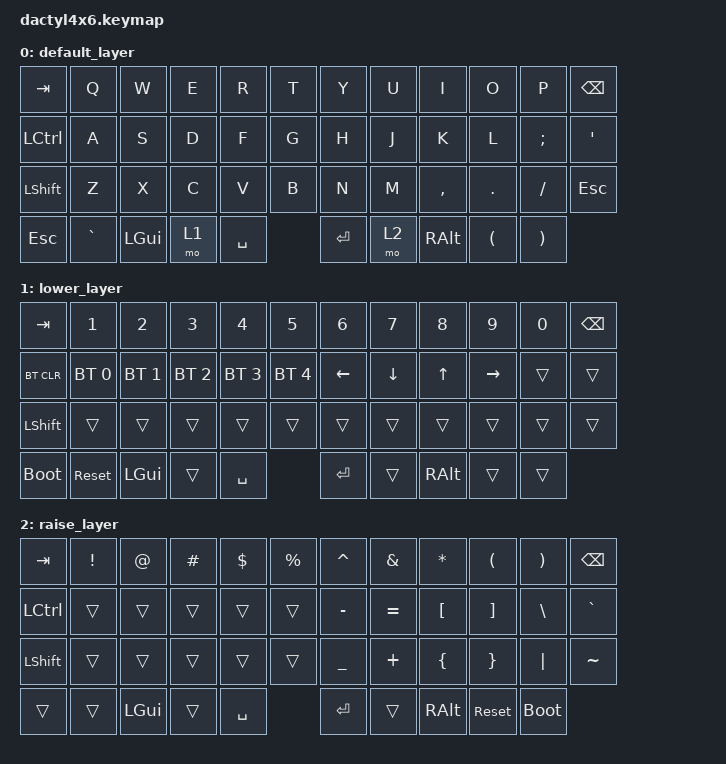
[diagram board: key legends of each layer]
/*
 * Copyright (c) 2020 The ZMK Contributors
 *
 * SPDX-License-Identifier: MIT
 */

#include <behaviors.dtsi>
#include <dt-bindings/zmk/keys.h>
#include <dt-bindings/zmk/bt.h>
#include <dt-bindings/zmk/pointing.h>

/ {
        keymap {
                compatible = "zmk,keymap";

                default_layer {
// -----------------------------------------------------------------------------------------
// |  TAB |  Q  |  W  |  E  |  R  |  T  |   |  Y  |  U   |  I  |  O  |  P  | BSPC |
// | CTRL |  A  |  S  |  D  |  F  |  G  |   |  H  |  J   |  K  |  L  |  ;  |  '   |
// | SHFT |  Z  |  X  |  C  |  V  |  B  |   |  N  |  M   |  ,  |  .  |  /  | ESC  |
//        | ESC |     | GUI | LWR | SPC |   | ENT | RSE  | ALT |  (  |  )  |
                        bindings = <
   &kp TAB   &kp Q &kp W &kp E &kp R &kp T   &kp Y &kp U  &kp I     &kp O   &kp P    &kp BSPC
   &kp LCTRL &kp A &kp S &kp D &kp F &kp G   &kp H &kp J  &kp K     &kp L   &kp SEMI &kp SQT
   &kp LSHFT &kp Z &kp X &kp C &kp V &kp B   &kp N &kp M  &kp COMMA &kp DOT &kp FSLH &kp ESC
&kp ESC &kp GRAVE &kp LGUI &mo 1 &kp SPACE   &kp RET &mo 2 &kp RALT &kp LPAR &kp RPAR
                        >;
                };
                lower_layer {
// -----------------------------------------------------------------------------------------
// |  TAB |  1  |  2  |  3  |  4  |  5  |   |  6  |  7  |  8  |  9  |  0  | BSPC |
// | BTCLR| BT1 | BT2 | BT3 | BT4 | BT5 |   | LFT | DWN |  UP | RGT |     |      |
// | SHFT |     |     |     |     |     |   |     |     |     |     |     |      |
//        | BOOT| RST | GUI |     | SPC |   | ENT |     | ALT |     |     |
                        bindings = <
   &kp TAB    &kp N1       &kp N2       &kp N3       &kp N4       &kp N5         &kp N6   &kp N7   &kp N8 &kp N9    &kp N0 &kp BSPC
   &bt BT_CLR &bt BT_SEL 0 &bt BT_SEL 1 &bt BT_SEL 2 &bt BT_SEL 3 &bt BT_SEL 4   &kp LEFT &kp DOWN &kp UP &kp RIGHT &trans &trans
   &kp LSHFT  &trans       &trans       &trans       &trans       &trans         &trans   &trans   &trans &trans    &trans &trans
              &bootloader  &sys_reset   &kp LGUI     &trans       &kp SPACE      &kp RET  &trans   &kp RALT &trans  &trans
                        >;
                };

                raise_layer {
// -----------------------------------------------------------------------------------------
// |  TAB |  !  |  @  |  #  |  $  |  %  |   |  ^  |  &  |  *  |  (  |  )  | BSPC |
// | CTRL |     |     |     |     |     |   |  -  |  =  |  [  |  ]  |  \  |  `   |
// | SHFT |     |     |     |     |     |   |  _  |  +  |  {  |  }  | "|" |  ~   |
//        |     |     | GUI |     | SPC |   | ENT |     | ALT | RST |BOOT |
                        bindings = <
   &kp  TAB  &kp EXCL &kp AT &kp HASH &kp DLLR &kp PRCNT   &kp CARET &kp AMPS  &kp ASTRK &kp LPAR &kp RPAR &kp BSPC
   &kp LCTRL &trans   &trans &trans   &trans   &trans      &kp MINUS &kp EQUAL &kp LBKT  &kp RBKT &kp BSLH &kp GRAVE
   &kp LSHFT &trans   &trans &trans   &trans   &trans      &kp UNDER &kp PLUS  &kp LBRC  &kp RBRC &kp PIPE &kp TILDE
             &trans   &trans &kp LGUI &trans   &kp SPACE   &kp RET   &trans    &kp RALT  &sys_reset &bootloader
                        >;
                };
        };
};
